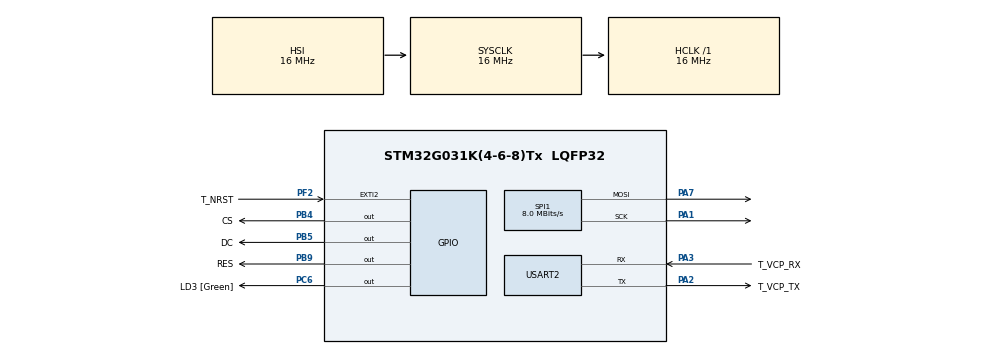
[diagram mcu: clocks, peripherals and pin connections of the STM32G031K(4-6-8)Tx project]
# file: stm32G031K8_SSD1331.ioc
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Dma.Request0=SPI1_TX
Dma.SPI1_TX.0.Direction=DMA_MEMORY_TO_PERIPH
Dma.SPI1_TX.0.EventEnable=DISABLE
Dma.SPI1_TX.0.Instance=DMA1_Channel1
Dma.SPI1_TX.0.MemDataAlignment=DMA_MDATAALIGN_BYTE
Dma.SPI1_TX.0.MemInc=DMA_MINC_ENABLE
Dma.SPI1_TX.0.Mode=DMA_NORMAL
Dma.SPI1_TX.0.PeriphDataAlignment=DMA_PDATAALIGN_BYTE
Dma.SPI1_TX.0.PeriphInc=DMA_PINC_DISABLE
Dma.SPI1_TX.0.Polarity=HAL_DMAMUX_REQ_GEN_RISING
Dma.SPI1_TX.0.Priority=DMA_PRIORITY_LOW
Dma.SPI1_TX.0.RequestNumber=1
Dma.SPI1_TX.0.SignalID=NONE
Dma.SPI1_TX.0.SyncEnable=DISABLE
Dma.SPI1_TX.0.SyncPolarity=HAL_DMAMUX_SYNC_NO_EVENT
Dma.SPI1_TX.0.SyncRequestNumber=1
Dma.SPI1_TX.0.SyncSignalID=NONE
Mcu.Family=STM32G0
Mcu.Name=STM32G031K(4-6-8)Tx
Mcu.Package=LQFP32
NVIC.DMA1_Channel1_IRQn=true\:0\:0\:false\:false\:true\:false\:true\:true
PA1.Mode=TX_Only_Simplex_Unidirect_Master
PA1.Signal=SPI1_SCK
PA13.GPIO_Label=T_JTMS
PA13.Mode=Serial_Wire
PA13.Signal=SYS_SWDIO
PA14-BOOT0.GPIO_Label=T_JTCK
PA14-BOOT0.Mode=Serial_Wire
PA14-BOOT0.Signal=SYS_SWCLK
PA2.GPIO_Label=T_VCP_TX
PA2.GPIO_PuPd=GPIO_PULLUP
PA2.Mode=Asynchronous
PA2.Signal=USART2_TX
PA3.GPIO_Label=T_VCP_RX
PA3.GPIO_PuPd=GPIO_PULLUP
PA3.Mode=Asynchronous
PA3.Signal=USART2_RX
PA7.Mode=TX_Only_Simplex_Unidirect_Master
PA7.Signal=SPI1_MOSI
PB4.GPIO_Label=CS
PB4.PinState=GPIO_PIN_SET
PB4.Signal=GPIO_Output
PB5.GPIO_Label=DC
PB5.Signal=GPIO_Output
PB9.GPIO_Label=RES
PB9.Signal=GPIO_Output
PC14-OSC32_IN\ (PC14).Mode=LSE-External-Oscillator
PC14-OSC32_IN\ (PC14).Signal=RCC_OSC32_IN
PC15-OSC32_OUT\ (PC15).Mode=LSE-External-Oscillator
PC15-OSC32_OUT\ (PC15).Signal=RCC_OSC32_OUT
PC6.GPIO_Label=LD3 [Green]
PC6.Signal=GPIO_Output
PF2\ -\ NRST.GPIO_Label=T_NRST
PF2\ -\ NRST.Signal=GPXTI2
ProjectManager.HeapSize=0x200
ProjectManager.StackSize=0x400
ProjectManager.TargetToolchain=STM32CubeIDE
RCC.AHBFreq_Value=16000000
RCC.CortexFreq_Value=16000000
RCC.EXTERNAL_CLOCK_VALUE=12288000
RCC.HCLKFreq_Value=16000000
RCC.HSE_VALUE=8000000
RCC.HSI_VALUE=16000000
RCC.SYSCLKFreq_VALUE=16000000
RCC.VCOOutputFreq_Value=128000000
SPI1.CalculateBaudRate=8.0 MBits/s
SPI1.Direction=SPI_DIRECTION_2LINES
SPI1.Mode=SPI_MODE_MASTER
SPI1.VirtualType=VM_MASTER
USART2.VirtualMode-Asynchronous=VM_ASYNC
USART2.WordLength=WORDLENGTH_7B
board=NUCLEO-G031K8

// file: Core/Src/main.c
/* USER CODE BEGIN Header */
/**
  ******************************************************************************
  * @file           : main.c
  * @brief          : Main program body
  ******************************************************************************
  * @attention
  *
  * Copyright (c) 2026 STMicroelectronics.
  * All rights reserved.
  *
  * This software is licensed under terms that can be found in the LICENSE file
  * in the root directory of this software component.
  * If no LICENSE file comes with this software, it is provided AS-IS.
  *
  ******************************************************************************
  */
/* USER CODE END Header */
#include "main.h"

/* USER CODE BEGIN Includes */

#include <stdlib.h>
#include <stdbool.h>

#include "epstein.h"

/* USER CODE END Includes */

/* USER CODE BEGIN PD */

#define SSD1331_WIDTH 96
#define SSD1331_HEIGHT 64

/* USER CODE END PD */

SPI_HandleTypeDef hspi1;
DMA_HandleTypeDef hdma_spi1_tx;

UART_HandleTypeDef huart2;

void SystemClock_Config(void);
static void MX_GPIO_Init(void);
static void MX_DMA_Init(void);
static void MX_USART2_UART_Init(void);
static void MX_SPI1_Init(void);
/* USER CODE BEGIN PFP */

static void SSD1331_Reset_Low() {
	HAL_GPIO_WritePin(RES_GPIO_Port, RES_Pin, GPIO_PIN_RESET);
}

static void SSD1331_Reset_High() {
	HAL_GPIO_WritePin(RES_GPIO_Port, RES_Pin, GPIO_PIN_SET);
}

static void SSD1331_Select() {
	HAL_GPIO_WritePin(CS_GPIO_Port, CS_Pin, GPIO_PIN_RESET);
}

static void SSD1331_Deselect() {
	HAL_GPIO_WritePin(CS_GPIO_Port, CS_Pin, GPIO_PIN_SET);
}

static void SSD1331_Send_Command(uint8_t data) {
	HAL_GPIO_WritePin(DC_GPIO_Port, DC_Pin, GPIO_PIN_RESET);
	SSD1331_Select();

	HAL_SPI_Transmit(&hspi1, &data, 1, HAL_MAX_DELAY);

	SSD1331_Deselect();

}

static void SSD1331_Send_Data(uint8_t* data, uint16_t len) {
	HAL_GPIO_WritePin(DC_GPIO_Port, DC_Pin, GPIO_PIN_SET);

	SSD1331_Select();

	HAL_SPI_Transmit(&hspi1, data, len, HAL_MAX_DELAY);

	SSD1331_Deselect();
}

static void SSD1331_Set_Contrast_A(uint8_t value) {
	SSD1331_Send_Command(0x81); SSD1331_Send_Command(value);
}

static void SSD1331_Set_Contrast_B(uint8_t value) {
	SSD1331_Send_Command(0x82); SSD1331_Send_Command(value);
}

static void SSD1331_Set_Contrast_C(uint8_t value) {
	SSD1331_Send_Command(0x83); SSD1331_Send_Command(value);
}

static void SSD1331_Initialize() {
	SSD1331_Reset_Low();
	HAL_Delay(10);

	SSD1331_Reset_High();
	HAL_Delay(50);

	// Initialization sequence
	SSD1331_Send_Command(0xAE);              // Display off
	SSD1331_Send_Command(0xA0); SSD1331_Send_Command(0x72); // Set Remap & Color Depth
	SSD1331_Send_Command(0xA1); SSD1331_Send_Command(0x00); // Set Display Start Line
	SSD1331_Send_Command(0xA2); SSD1331_Send_Command(0x00); // Set Display Offset
	SSD1331_Send_Command(0xA4);              // Normal Display (not all-on)
	SSD1331_Send_Command(0xA8); SSD1331_Send_Command(0x3F); // Set Multiplex Ratio
	SSD1331_Send_Command(0xAD); SSD1331_Send_Command(0x8E); // Master Config
	SSD1331_Send_Command(0xB0); SSD1331_Send_Command(0x0B); // Power Save Mode
	SSD1331_Send_Command(0xB1); SSD1331_Send_Command(0x31); // Phase Period Adjust
	SSD1331_Send_Command(0xB3); SSD1331_Send_Command(0xF0); // Clock Divider / Oscillator
	SSD1331_Send_Command(0x8A); SSD1331_Send_Command(0x64); // Precharge A
	SSD1331_Send_Command(0x8B); SSD1331_Send_Command(0x78); // Precharge B
	SSD1331_Send_Command(0x8C); SSD1331_Send_Command(0x64); // Precharge C
	SSD1331_Send_Command(0xBB); SSD1331_Send_Command(0x3A); // Precharge Level
	SSD1331_Send_Command(0xBE); SSD1331_Send_Command(0x3E); // VCOMH
	SSD1331_Send_Command(0x87); SSD1331_Send_Command(0x06); // Master Current
	SSD1331_Set_Contrast_A(0x91);
	SSD1331_Set_Contrast_B(0x50);
	SSD1331_Set_Contrast_C(0x7D);
	SSD1331_Send_Command(0xAF);              // Display ON
}

static void SSD1331_Draw_Pixel(uint8_t x, uint8_t y, uint16_t color) {
	// set column
	SSD1331_Send_Command(0x15);
	SSD1331_Send_Command(x);
	SSD1331_Send_Command(x);

	// set row
	SSD1331_Send_Command(0x75);
	SSD1331_Send_Command(y);
	SSD1331_Send_Command(y);

	// send pixel color (in RGB565 format)
	uint8_t data[2] = {
	    color >> 8,
		color & 0xFF
	};

	SSD1331_Send_Data(data, 2);
}

static void SSD1331_Draw_Whole_Image(uint8_t* data) {
	for (size_t w = 0; w < SSD1331_WIDTH; w++) {
		 for (size_t h = 0; h < SSD1331_HEIGHT; h++){
			size_t index = w * SSD1331_WIDTH + h;

			uint8_t pixel_low_byte = *(data + (index * 2));
			uint8_t pixel_high_byte = *(data + (index * 2 + 1));

			uint16_t pixel = ((uint16_t)pixel_high_byte << 8) + (uint16_t)pixel_low_byte;

			SSD1331_Draw_Pixel(w, h, pixel);
		}
	}
}

/* USER CODE END PFP */

int main(void)
{

  /* MCU Configuration--------------------------------------------------------*/

  /* Reset of all peripherals, Initializes the Flash interface and the Systick. */
  HAL_Init();

  /* Configure the system clock */
  SystemClock_Config();

  /* Initialize all configured peripherals */
  MX_GPIO_Init();
  MX_DMA_Init();
  MX_USART2_UART_Init();
  MX_SPI1_Init();
  /* USER CODE BEGIN 2 */

  SSD1331_Initialize();

  /* USER CODE END 2 */

  /* Infinite loop */
  while (1)
  {

	/*
	for (int i = 0; i < SSD1331_WIDTH; i++) {
		for (int j = 0; j < SSD1331_HEIGHT; j++) {
			SSD1331_Draw_Pixel(i, j, rand() % 65535);
		}
	}
	*/
	SSD1331_Draw_Whole_Image(epstein_raw);

    HAL_Delay(50);

  }
}

void SystemClock_Config(void)
{
  RCC_OscInitTypeDef RCC_OscInitStruct = {0};
  RCC_ClkInitTypeDef RCC_ClkInitStruct = {0};

  /** Configure the main internal regulator output voltage
  */
  HAL_PWREx_ControlVoltageScaling(PWR_REGULATOR_VOLTAGE_SCALE1);

  /** Initializes the RCC Oscillators according to the specified parameters
  * in the RCC_OscInitTypeDef structure.
  */
  RCC_OscInitStruct.OscillatorType = RCC_OSCILLATORTYPE_HSI;
  RCC_OscInitStruct.HSIState = RCC_HSI_ON;
  RCC_OscInitStruct.HSIDiv = RCC_HSI_DIV1;
  RCC_OscInitStruct.HSICalibrationValue = RCC_HSICALIBRATION_DEFAULT;
  RCC_OscInitStruct.PLL.PLLState = RCC_PLL_NONE;
  if (HAL_RCC_OscConfig(&RCC_OscInitStruct) != HAL_OK)
  {
    Error_Handler();
  }

  /** Initializes the CPU, AHB and APB buses clocks
  */
  RCC_ClkInitStruct.ClockType = RCC_CLOCKTYPE_HCLK|RCC_CLOCKTYPE_SYSCLK
                              |RCC_CLOCKTYPE_PCLK1;
  RCC_ClkInitStruct.SYSCLKSource = RCC_SYSCLKSOURCE_HSI;
  RCC_ClkInitStruct.AHBCLKDivider = RCC_SYSCLK_DIV1;
  RCC_ClkInitStruct.APB1CLKDivider = RCC_HCLK_DIV1;

  if (HAL_RCC_ClockConfig(&RCC_ClkInitStruct, FLASH_LATENCY_0) != HAL_OK)
  {
    Error_Handler();
  }
}

static void MX_SPI1_Init(void)
{

  /* SPI1 parameter configuration*/
  hspi1.Instance = SPI1;
  hspi1.Init.Mode = SPI_MODE_MASTER;
  hspi1.Init.Direction = SPI_DIRECTION_2LINES;
  hspi1.Init.DataSize = SPI_DATASIZE_8BIT;
  hspi1.Init.CLKPolarity = SPI_POLARITY_LOW;
  hspi1.Init.CLKPhase = SPI_PHASE_1EDGE;
  hspi1.Init.NSS = SPI_NSS_SOFT;
  hspi1.Init.BaudRatePrescaler = SPI_BAUDRATEPRESCALER_2;
  hspi1.Init.FirstBit = SPI_FIRSTBIT_MSB;
  hspi1.Init.TIMode = SPI_TIMODE_DISABLE;
  hspi1.Init.CRCCalculation = SPI_CRCCALCULATION_DISABLE;
  hspi1.Init.CRCPolynomial = 7;
  hspi1.Init.CRCLength = SPI_CRC_LENGTH_DATASIZE;
  hspi1.Init.NSSPMode = SPI_NSS_PULSE_ENABLE;
  if (HAL_SPI_Init(&hspi1) != HAL_OK)
  {
    Error_Handler();
  }

}

static void MX_USART2_UART_Init(void)
{

  huart2.Instance = USART2;
  huart2.Init.BaudRate = 115200;
  huart2.Init.WordLength = UART_WORDLENGTH_7B;
  huart2.Init.StopBits = UART_STOPBITS_1;
  huart2.Init.Parity = UART_PARITY_NONE;
  huart2.Init.Mode = UART_MODE_TX_RX;
  huart2.Init.HwFlowCtl = UART_HWCONTROL_NONE;
  huart2.Init.OverSampling = UART_OVERSAMPLING_16;
  huart2.Init.OneBitSampling = UART_ONE_BIT_SAMPLE_DISABLE;
  huart2.Init.ClockPrescaler = UART_PRESCALER_DIV1;
  huart2.AdvancedInit.AdvFeatureInit = UART_ADVFEATURE_NO_INIT;
  if (HAL_UART_Init(&huart2) != HAL_OK)
  {
    Error_Handler();
  }

}

static void MX_DMA_Init(void)
{

  /* DMA controller clock enable */
  __HAL_RCC_DMA1_CLK_ENABLE();

  /* DMA interrupt init */
  /* DMA1_Channel1_IRQn interrupt configuration */
  HAL_NVIC_SetPriority(DMA1_Channel1_IRQn, 0, 0);
  HAL_NVIC_EnableIRQ(DMA1_Channel1_IRQn);

}

static void MX_GPIO_Init(void)
{
  GPIO_InitTypeDef GPIO_InitStruct = {0};

  /* GPIO Ports Clock Enable */
  __HAL_RCC_GPIOB_CLK_ENABLE();
  __HAL_RCC_GPIOC_CLK_ENABLE();
  __HAL_RCC_GPIOF_CLK_ENABLE();
  __HAL_RCC_GPIOA_CLK_ENABLE();

  /*Configure GPIO pin Output Level */
  HAL_GPIO_WritePin(GPIOB, RES_Pin|DC_Pin, GPIO_PIN_RESET);

  /*Configure GPIO pin Output Level */
  HAL_GPIO_WritePin(LD3_GPIO_Port, LD3_Pin, GPIO_PIN_RESET);

  /*Configure GPIO pin Output Level */
  HAL_GPIO_WritePin(CS_GPIO_Port, CS_Pin, GPIO_PIN_SET);

  /*Configure GPIO pins : RES_Pin CS_Pin DC_Pin */
  GPIO_InitStruct.Pin = RES_Pin|CS_Pin|DC_Pin;
  GPIO_InitStruct.Mode = GPIO_MODE_OUTPUT_PP;
  GPIO_InitStruct.Pull = GPIO_NOPULL;
  GPIO_InitStruct.Speed = GPIO_SPEED_FREQ_LOW;
  HAL_GPIO_Init(GPIOB, &GPIO_InitStruct);

  /*Configure GPIO pin : T_NRST_Pin */
  GPIO_InitStruct.Pin = T_NRST_Pin;
  GPIO_InitStruct.Mode = GPIO_MODE_IT_RISING;
  GPIO_InitStruct.Pull = GPIO_NOPULL;
  HAL_GPIO_Init(T_NRST_GPIO_Port, &GPIO_InitStruct);

  /*Configure GPIO pin : LD3_Pin */
  GPIO_InitStruct.Pin = LD3_Pin;
  GPIO_InitStruct.Mode = GPIO_MODE_OUTPUT_PP;
  GPIO_InitStruct.Pull = GPIO_NOPULL;
  GPIO_InitStruct.Speed = GPIO_SPEED_FREQ_LOW;
  HAL_GPIO_Init(LD3_GPIO_Port, &GPIO_InitStruct);

}

void Error_Handler(void)
{
  __disable_irq();
  while (1)
  {
  }
}
